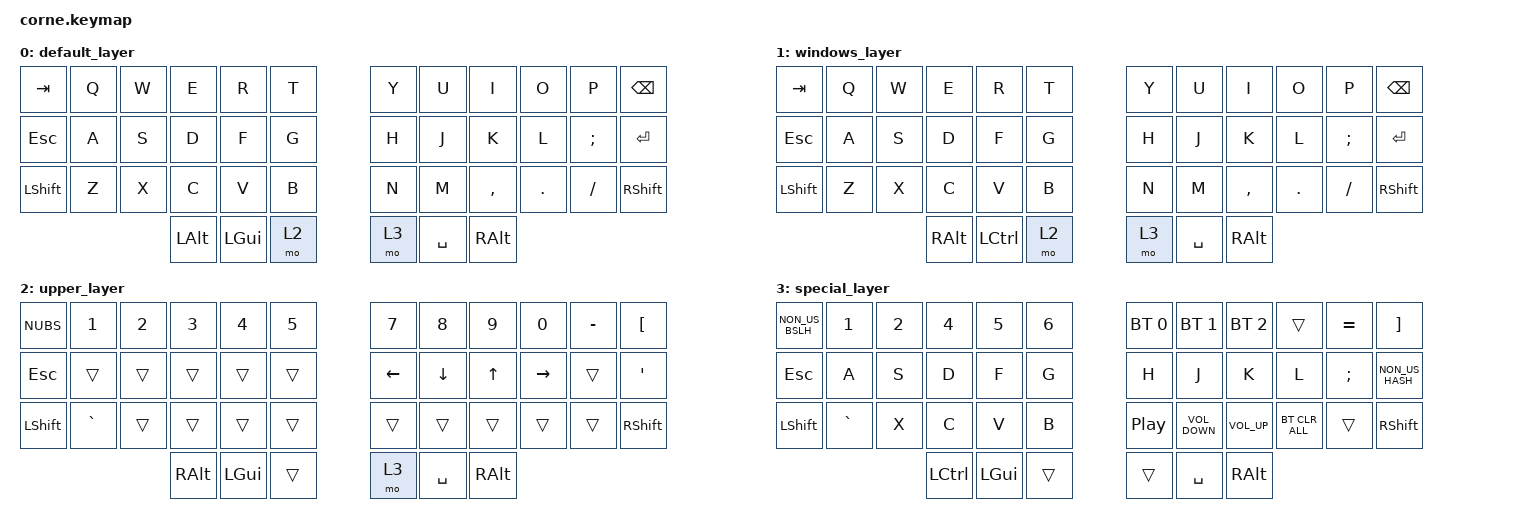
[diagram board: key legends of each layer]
/*
 * Copyright (c) 2020 The ZMK Contributors
 *
 * SPDX-License-Identifier: MIT
 */

#include <behaviors.dtsi>
#include <dt-bindings/zmk/bt.h>
#include <dt-bindings/zmk/keys.h>

/ {
    combos {
        compatible = "zmk,combos";

        toggle1 {
            bindings = <&tog 1>;
            key-positions = <38 39 18>;
        };

        special6 {
            bindings = <&mo 3>;
            key-positions = <39 38>;
        };

        toggle2 {
            bindings = <&tog 0>;
            key-positions = <39 38 19>;
        };
    };

    keymap {
        compatible = "zmk,keymap";

        default_layer {
            // -----------------------------------------------------------------------------------------
            // |  TAB |  Q  |  W  |  E  |  R  |  T  |   |  Y  |  U   |  I  |  O  |  P  | BKSP |
            // | CTRL |  A  |  S  |  D  |  F  |  G  |   |  H  |  J   |  K  |  L  |  ;  |  '   |
            // | SHFT |  Z  |  X  |  C  |  V  |  B  |   |  N  |  M   |  ,  |  .  |  /  | ESC  |
            //                    | GUI | LWR | SPC |   | ENT | RSE  | ALT |

            bindings = <
&kp TAB    &kp Q  &kp W  &kp E     &kp R     &kp T    &kp Y  &kp U      &kp I      &kp O    &kp P     &kp BSPC
&kp ESC    &kp A  &kp S  &kp D     &kp F     &kp G    &kp H  &kp J      &kp K      &kp L    &kp SEMI  &kp ENTER
&kp LSHFT  &kp Z  &kp X  &kp C     &kp V     &kp B    &kp N  &kp M      &kp COMMA  &kp DOT  &kp FSLH  &kp RIGHT_SHIFT
                         &kp LALT  &kp LGUI  &mo 2    &mo 3  &kp SPACE  &kp RALT
            >;
        };

        windows_layer {
            // -----------------------------------------------------------------------------------------
            // |  TAB |  !  |  @  |  #  |  $  |  %  |   |  ^  |  &  |  *  |  (  |  )  | BKSP |
            // | CTRL |     |     |     |     |     |   |  -  |  =  |  [  |  ]  |  \  |  `   |
            // | SHFT |     |     |     |     |     |   |  _  |  +  |  {  |  }  | "|" |  ~   |
            //                    | GUI |     | SPC |   | ENT |     | ALT |

            bindings = <
&kp TAB    &kp Q  &kp W  &kp E          &kp R             &kp T    &kp Y  &kp U      &kp I      &kp O    &kp P     &kp BSPC
&kp ESC    &kp A  &kp S  &kp D          &kp F             &kp G    &kp H  &kp J      &kp K      &kp L    &kp SEMI  &kp ENTER
&kp LSHFT  &kp Z  &kp X  &kp C          &kp V             &kp B    &kp N  &kp M      &kp COMMA  &kp DOT  &kp FSLH  &kp RIGHT_SHIFT
                         &kp RIGHT_ALT  &kp LEFT_CONTROL  &mo 2    &mo 3  &kp SPACE  &kp RALT
            >;
        };

        upper_layer {
            // -----------------------------------------------------------------------------------------
            // |  TAB |  1  |  2  |  3  |  4  |  5  |   |  6  |  7  |  8  |  9  |  0  | BKSP |
            // | BTCLR| BT1 | BT2 | BT3 | BT4 | BT5 |   | LFT | DWN |  UP | RGT |     |      |
            // | SHFT |     |     |     |     |     |   |     |     |     |     |     |      |
            //                    | GUI |     | SPC |   | ENT |     | ALT |

            bindings = <
&kp NUBS   &kp N1     &kp N2  &kp N3         &kp N4    &kp N5    &kp N7    &kp N8     &kp N9    &kp N0     &kp MINUS  &kp LBKT
&kp ESC    &trans     &trans  &trans         &trans    &trans    &kp LEFT  &kp DOWN   &kp UP    &kp RIGHT  &trans     &kp APOS
&kp LSHFT  &kp GRAVE  &trans  &trans         &trans    &trans    &trans    &trans     &trans    &trans     &trans     &kp RSHFT
                              &kp RIGHT_ALT  &kp LGUI  &trans    &mo 3     &kp SPACE  &kp RALT
            >;
        };

        special_layer {
            bindings = <
&kp NON_US_BSLH  &kp NUMBER_1  &kp NUMBER_2  &kp NUMBER_4      &kp NUMBER_5  &kp NUMBER_6    &bt BT_SEL 0  &bt BT_SEL 1       &bt BT_SEL 2     &trans          &kp EQUAL      &kp RIGHT_BRACKET
&kp ESC          &kp A         &kp S         &kp D             &kp F         &kp G           &kp H         &kp J              &kp K            &kp L           &kp SEMICOLON  &kp NON_US_HASH
&kp LEFT_SHIFT   &kp GRAVE     &kp X         &kp C             &kp V         &kp B           &kp C_PP      &kp C_VOLUME_DOWN  &kp C_VOLUME_UP  &bt BT_CLR_ALL  &trans         &kp RSHIFT
                                             &kp LEFT_CONTROL  &kp LGUI      &trans          &trans        &kp SPACE          &kp RALT
            >;
        };
    };
};
